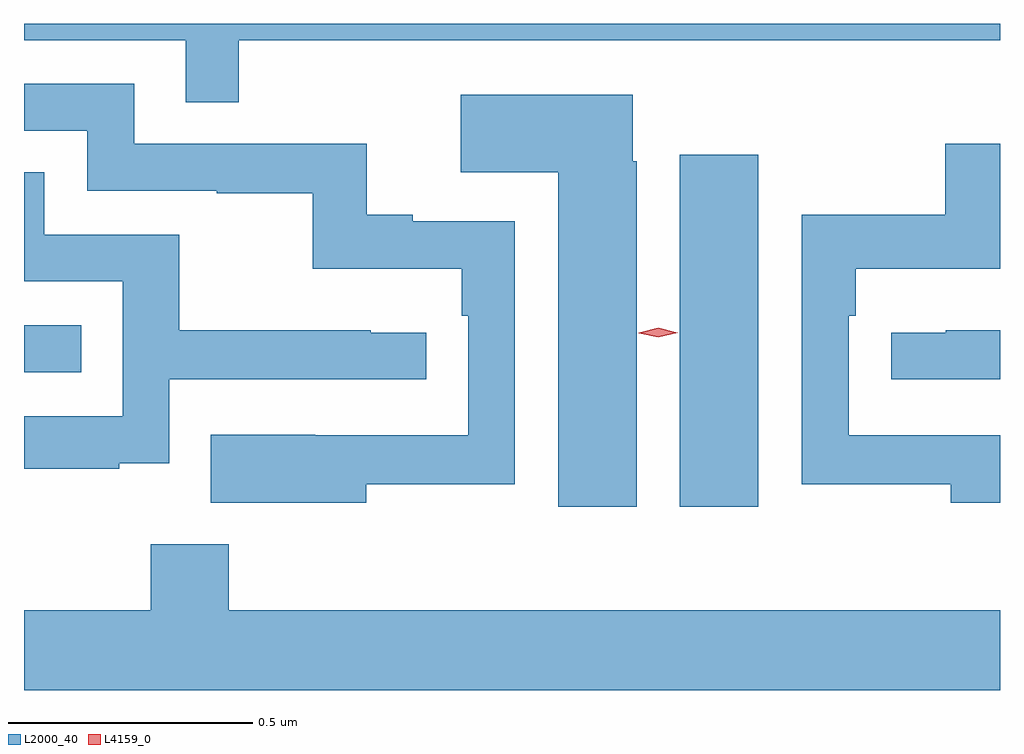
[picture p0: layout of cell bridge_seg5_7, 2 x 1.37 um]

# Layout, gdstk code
import gdstk
lib = gdstk.Library(unit=1e-6, precision=1e-09)
def R(c, l, rs):  # rectangles x0, y0, x1, y1
    for r in rs: c.add(gdstk.rectangle(r[:2], r[2:], *l))
def P(c, l, *ps):  # polygons
    for p in ps: c.add(gdstk.Polygon(p, *l))
L2000_40 = (2000, 40)
L4159_0 = (4159, 0)

bridge_seg5_7 = lib.new_cell('bridge_seg5_7')
R(bridge_seg5_7, L2000_40, [(912.608,870.456,912.769,871.177), (911.264,870.732,911.381,870.828)])
P(bridge_seg5_7, L2000_40, [(911.704,871.412),(913.264,871.412),(913.264,871.446),(911.264,871.446),(911.264,871.412),(911.595,871.412),(911.595,871.285),(911.704,871.285)],
  [(911.965,870.502),(912.27,870.502),(912.27,871.041),(912.061,871.041),(912.061,871.054),(911.966,871.054),(911.966,871.2),(911.49,871.2),(911.49,871.323),(911.264,871.323),(911.264,871.227),(911.394,871.227),(911.394,871.104),(911.659,871.104),(911.659,871.099),(911.856,871.099),(911.856,870.944),(912.161,870.944),(912.161,870.848),(912.174,870.848),(912.174,870.603),(911.861,870.603),(911.861,870.604),(911.647,870.604),(911.647,870.464),(911.965,870.464)],
  [(912.52,871.164),(912.511,871.164),(912.511,871.3),(912.159,871.3),(912.159,871.142),(912.359,871.142),(912.359,870.456),(912.52,870.456)],
  [(913.264,870.603),(912.954,870.603),(912.954,870.848),(912.968,870.848),(912.968,870.944),(913.264,870.944),(913.264,871.2),(913.152,871.2),(913.152,871.054),(912.858,871.054),(912.858,870.502),(913.163,870.502),(913.163,870.464),(913.264,870.464)],
  [(911.459,870.545),(911.562,870.545),(911.562,870.717),(912.088,870.717),(912.088,870.813),(911.975,870.813),(911.975,870.818),(911.582,870.818),(911.582,871.014),(911.305,871.014),(911.305,871.142),(911.264,871.142),(911.264,870.918),(911.466,870.918),(911.466,870.642),(911.264,870.642),(911.264,870.534),(911.459,870.534)],
  [(913.264,870.818),(913.153,870.818),(913.153,870.813),(913.041,870.813),(913.041,870.717),(913.264,870.717)],
  [(913.264,870.244),(911.684,870.244),(911.684,870.379),(911.524,870.379),(911.524,870.244),(911.264,870.244),(911.264,870.08),(913.264,870.08)])
P(bridge_seg5_7, L4159_0, [(912.564,870.803),(912.524,870.812),(912.524,870.813),(912.524,870.813),(912.564,870.823),(912.604,870.813),(912.604,870.813),(912.604,870.813)])

lib.write_gds('bridge_seg5_7.gds')
